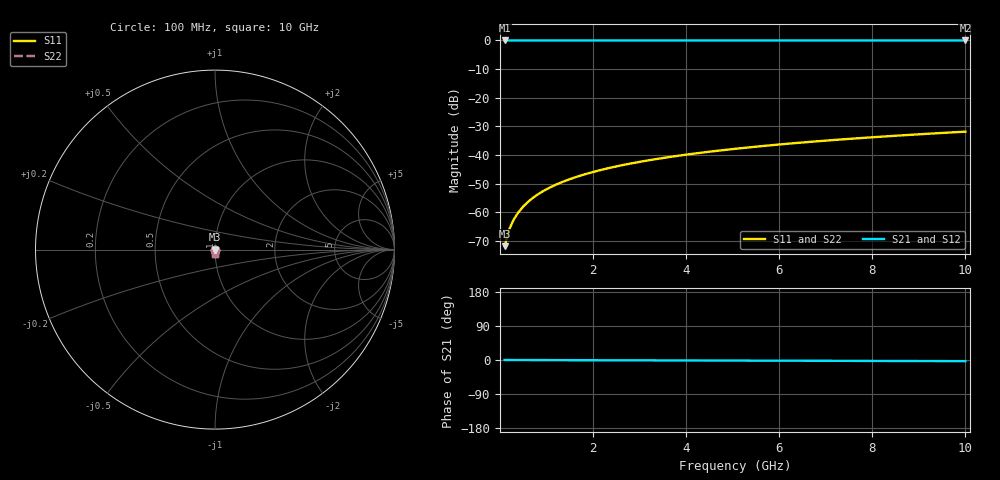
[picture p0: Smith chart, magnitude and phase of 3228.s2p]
# Hz S RI R 50.00
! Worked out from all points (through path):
!   100 points, 100 MHz to 10 GHz, reference 50 ohm
!   highest |S21| = 0.00 dB at 100 MHz (marker M1); lowest = 0.0 dB at 10 GHz (marker M2)
!   lowest |S11| = -71.9 dB at 100 MHz (marker M3), VSWR 1.00, Z = 50 - j0.0252 ohm
!   |S11| at or under -10 dB: start of sweep to end of sweep
!   |S22| runs from -71.9 to -31.9 dB; largest |S21 - S12| = 0
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1e8  4.48e-05 -0.000252  1 -0.000531  1 -0.000531  4.48e-05 -0.000252
2e8  4.44e-05 -0.000503  1 -0.00106  1 -0.00106  4.44e-05 -0.000503
3e8  4.36e-05 -0.000755  1 -0.00159  1 -0.00159  4.36e-05 -0.000755
4e8  4.24e-05 -0.00101  0.9999 -0.00213  0.9999 -0.00213  4.24e-05 -0.00101
5e8  4.1e-05 -0.00126  0.9999 -0.00266  0.9999 -0.00266  4.1e-05 -0.00126
6e8  3.93e-05 -0.00151  0.9999 -0.00319  0.9999 -0.00319  3.93e-05 -0.00151
7e8  3.73e-05 -0.00176  0.9999 -0.00372  0.9999 -0.00372  3.73e-05 -0.00176
8e8  3.51e-05 -0.00201  0.9999 -0.00425  0.9999 -0.00425  3.51e-05 -0.00201
9e8  3.25e-05 -0.00227  0.9999 -0.00478  0.9999 -0.00478  3.25e-05 -0.00227
1.1e9  2.66e-05 -0.00277  0.9999 -0.00585  0.9999 -0.00585  2.66e-05 -0.00277
1.4e9  1.57e-05 -0.00353  0.9999 -0.00745  0.9999 -0.00745  1.57e-05 -0.00353
1.8e9  -2.66e-06 -0.00454  0.9999 -0.00958  0.9999 -0.00958  -2.66e-06 -0.00454
2.1e9  -1.93e-05 -0.0053  0.9999 -0.0112  0.9999 -0.0112  -1.93e-05 -0.0053
2.5e9  -4.53e-05 -0.00631  0.9998 -0.0133  0.9998 -0.0133  -4.53e-05 -0.00631
2.9e9  -7.57e-05 -0.00732  0.9998 -0.0155  0.9998 -0.0155  -7.57e-05 -0.00732
3.4e9  -0.00012 -0.00859  0.9997 -0.0181  0.9997 -0.0181  -0.00012 -0.00859
4.2e9  -0.000205 -0.0106  0.9996 -0.0224  0.9996 -0.0224  -0.000205 -0.0106
5.1e9  -0.000322 -0.0129  0.9995 -0.0273  0.9995 -0.0273  -0.000322 -0.0129
5.9e9  -0.000445 -0.015  0.9993 -0.0316  0.9993 -0.0316  -0.000445 -0.015
6.7e9  -0.000587 -0.017  0.9991 -0.0359  0.9991 -0.0359  -0.000587 -0.017
8.4e9  -0.000947 -0.0214  0.9987 -0.0452  0.9987 -0.0452  -0.000947 -0.0214
1e10  -0.00136 -0.0255  0.9981 -0.0539  0.9981 -0.0539  -0.00136 -0.0255
